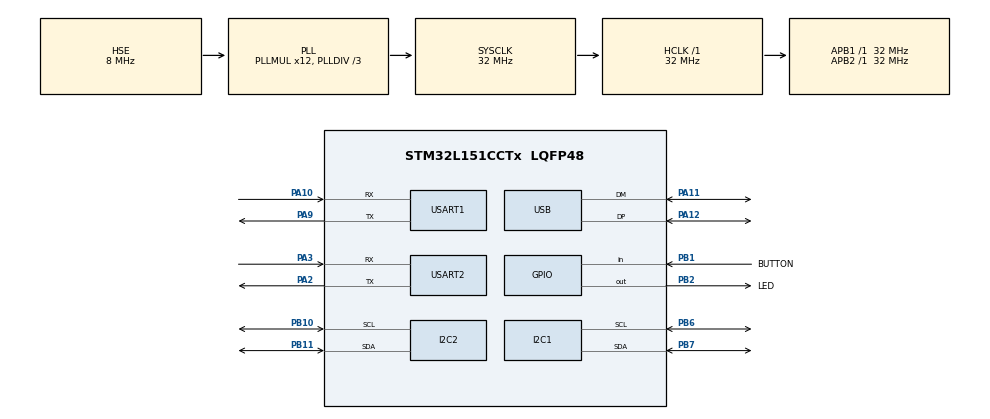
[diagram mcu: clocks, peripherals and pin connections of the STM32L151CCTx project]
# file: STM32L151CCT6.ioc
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FREERTOS.BinarySemaphores01=outputBinarySem,Dynamic,NULL
FREERTOS.HEAP_NUMBER=4
FREERTOS.Tasks01=defaultTask,24,64,StartDefaultTask,Default,NULL,Dynamic,NULL,NULL;commsTask,24,256,StartCommsTask,Default,NULL,Dynamic,NULL,NULL;mainTask,24,256,StartMainTask,Default,NULL,Dynamic,NULL,NULL
FREERTOS.configCHECK_FOR_STACK_OVERFLOW=1
FREERTOS.configMINIMAL_STACK_SIZE=64
FREERTOS.configTOTAL_HEAP_SIZE=19448
FREERTOS.configUSE_MALLOC_FAILED_HOOK=1
FREERTOS.configUSE_NEWLIB_REENTRANT=0
I2C1.I2C_Mode=I2C_Fast
Mcu.Family=STM32L1
Mcu.Name=STM32L151CCTx
Mcu.Package=LQFP48
NVIC.PriorityGroup=NVIC_PRIORITYGROUP_4
NVIC.TIM2_IRQn=true\:15\:0\:false\:false\:true\:false\:false\:true
NVIC.TimeBase=TIM2_IRQn
NVIC.TimeBaseIP=TIM2
NVIC.USB_LP_IRQn=true\:5\:0\:false\:false\:true\:true\:false\:true
PA10.Mode=Asynchronous
PA10.Signal=USART1_RX
PA11.Mode=Device
PA11.Signal=USB_DM
PA12.Mode=Device
PA12.Signal=USB_DP
PA13.Mode=Trace_Asynchronous_SW
PA13.Signal=SYS_JTMS-SWDIO
PA14.Mode=Trace_Asynchronous_SW
PA14.Signal=SYS_JTCK-SWCLK
PA2.Mode=Asynchronous
PA2.Signal=USART2_TX
PA3.Mode=Asynchronous
PA3.Signal=USART2_RX
PA9.Mode=Asynchronous
PA9.Signal=USART1_TX
PB1.GPIO_Label=BUTTON
PB1.GPIO_PuPd=GPIO_PULLUP
PB1.Signal=GPIO_Input
PB10.GPIO_Pu=GPIO_PULLUP
PB10.Mode=I2C
PB10.Signal=I2C2_SCL
PB11.GPIO_Pu=GPIO_PULLUP
PB11.Mode=I2C
PB11.Signal=I2C2_SDA
PB2.GPIO_Label=LED
PB2.Signal=GPIO_Output
PB3.Mode=Trace_Asynchronous_SW
PB3.Signal=SYS_JTDO-TRACESWO
PB6.GPIO_Pu=GPIO_PULLUP
PB6.Mode=I2C
PB6.Signal=I2C1_SCL
PB7.GPIO_Pu=GPIO_PULLUP
PB7.Mode=I2C
PB7.Signal=I2C1_SDA
PH0-OSC_IN.Mode=HSE-External-Oscillator
PH0-OSC_IN.Signal=RCC_OSC_IN
PH1-OSC_OUT.Mode=HSE-External-Oscillator
PH1-OSC_OUT.Signal=RCC_OSC_OUT
ProjectManager.HeapSize=0x200
ProjectManager.StackSize=0x400
ProjectManager.TargetToolchain=STM32CubeIDE
RCC.48MHZClocksFreq_Value=48000000
RCC.AHBFreq_Value=32000000
RCC.APB1Freq_Value=32000000
RCC.APB1TimFreq_Value=32000000
RCC.APB2Freq_Value=32000000
RCC.APB2TimFreq_Value=32000000
RCC.HCLKFreq_Value=32000000
RCC.HSE_VALUE=8000000
RCC.HSI_VALUE=16000000
RCC.LSE_VALUE=32768
RCC.MSI_VALUE=2097000
RCC.PLLDIV=RCC_PLL_DIV3
RCC.PLLMUL=RCC_PLL_MUL12
RCC.SYSCLKFreq_VALUE=32000000
RCC.SYSCLKSource=RCC_SYSCLKSOURCE_PLLCLK
RCC.VCOOutputFreq_Value=96000000
USART1.VirtualMode=VM_ASYNC
USART2.VirtualMode=VM_ASYNC
USB_DEVICE.APP_RX_DATA_SIZE=256
USB_DEVICE.APP_TX_DATA_SIZE=256
USB_DEVICE.CLASS_NAME_FS=CDC
USB_DEVICE.VirtualMode=Cdc
USB_DEVICE.VirtualModeFS=Cdc_FS
VP_FREERTOS_VS_CMSIS_V2.Mode=CMSIS_V2
VP_RTC_VS_RTC_Activate.Mode=RTC_Enabled
VP_SYS_VS_tim2.Mode=TIM2
VP_USB_DEVICE_VS_USB_DEVICE_CDC_FS.Mode=CDC_FS
board=custom

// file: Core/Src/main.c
/* USER CODE BEGIN Header */
/**
  ******************************************************************************
  * @file           : main.c
  * @brief          : Main program body
  ******************************************************************************
  * @attention
  *
  * <h2><center>&copy; Copyright (c) 2021 STMicroelectronics.
  * All rights reserved.</center></h2>
  *
  * This software component is licensed by ST under BSD 3-Clause license,
  * the "License"; You may not use this file except in compliance with the
  * License. You may obtain a copy of the License at:
  *                        opensource.org/licenses/BSD-3-Clause
  *
  ******************************************************************************
  */
/* USER CODE END Header */
#include "main.h"
#include "cmsis_os.h"
#include "usb_device.h"
#include "usb_device.h"

/* USER CODE BEGIN Includes */
#include "usbd_cdc_if.h"
#include "FreeRTOS.h"
#include <memory.h>
#include <malloc.h>
#include <stdio.h>
#include "queue.h"
#include "stream_buffer.h"
#include "semphr.h"
#include "task.h"
#include "messages.h"
#include "menu.h"
#include "readline.h"
#include "userdata.h"
#include "sao.h"

/* USER CODE END Includes */

I2C_HandleTypeDef hi2c1;
I2C_HandleTypeDef hi2c2;

RTC_HandleTypeDef hrtc;

UART_HandleTypeDef huart1;
UART_HandleTypeDef huart2;

/* Definitions for defaultTask */
osThreadId_t defaultTaskHandle;
const osThreadAttr_t defaultTask_attributes = {
  .name = "defaultTask",
  .stack_size = 64 * 4,
  .priority = (osPriority_t) osPriorityNormal,
};
/* Definitions for commsTask */
osThreadId_t commsTaskHandle;
const osThreadAttr_t commsTask_attributes = {
  .name = "commsTask",
  .stack_size = 256 * 4,
  .priority = (osPriority_t) osPriorityNormal,
};
/* Definitions for mainTask */
osThreadId_t mainTaskHandle;
const osThreadAttr_t mainTask_attributes = {
  .name = "mainTask",
  .stack_size = 256 * 4,
  .priority = (osPriority_t) osPriorityNormal,
};
/* Definitions for outputBinarySem */
osSemaphoreId_t outputBinarySemHandle;
const osSemaphoreAttr_t outputBinarySem_attributes = {
  .name = "outputBinarySem"
};
/* USER CODE BEGIN PV */
static const uint8_t DEV_ADDR = 0xc4;

StreamBufferHandle_t stdoutBufferHandle;

char outputBuffer[OUTPUT_BUFF_LEN];

/* USER CODE END PV */

void SystemClock_Config(void);
static void MX_GPIO_Init(void);
static void MX_I2C1_Init(void);
static void MX_I2C2_Init(void);
static void MX_USART1_UART_Init(void);
static void MX_USART2_UART_Init(void);
static void MX_RTC_Init(void);
void StartDefaultTask(void *argument);
void StartCommsTask(void *argument);
void StartMainTask(void *argument);

/* USER CODE BEGIN PFP */
void setColor(uint8_t red, uint8_t green, uint8_t blue);
/* USER CODE END PFP */

int main(void)
{

  /* MCU Configuration--------------------------------------------------------*/

  /* Reset of all peripherals, Initializes the Flash interface and the Systick. */
  HAL_Init();

  /* Configure the system clock */
  SystemClock_Config();

  /* Initialize all configured peripherals */
  MX_GPIO_Init();
  MX_I2C1_Init();
  MX_I2C2_Init();
  MX_USART1_UART_Init();
  MX_USART2_UART_Init();
  MX_RTC_Init();

  /* Init scheduler */
  osKernelInitialize();

  /* Create the semaphores(s) */
  /* creation of outputBinarySem */
  outputBinarySemHandle = osSemaphoreNew(1, 1, &outputBinarySem_attributes);

  /* USER CODE BEGIN RTOS_QUEUES */
  init_input();
  stdoutBufferHandle = xStreamBufferCreate(1024, 1);
  /* USER CODE END RTOS_QUEUES */

  /* Create the thread(s) */
  /* creation of defaultTask */
  defaultTaskHandle = osThreadNew(StartDefaultTask, NULL, &defaultTask_attributes);

  /* creation of commsTask */
  commsTaskHandle = osThreadNew(StartCommsTask, NULL, &commsTask_attributes);

  /* creation of mainTask */
  mainTaskHandle = osThreadNew(StartMainTask, NULL, &mainTask_attributes);

  /* Start scheduler */
  osKernelStart();

  /* We should never get here as control is now taken by the scheduler */
  /* Infinite loop */
  while (1)
  {

  }
}

void SystemClock_Config(void)
{
  RCC_OscInitTypeDef RCC_OscInitStruct = {0};
  RCC_ClkInitTypeDef RCC_ClkInitStruct = {0};
  RCC_PeriphCLKInitTypeDef PeriphClkInit = {0};

  /** Configure the main internal regulator output voltage
  */
  __HAL_PWR_VOLTAGESCALING_CONFIG(PWR_REGULATOR_VOLTAGE_SCALE1);
  /** Initializes the RCC Oscillators according to the specified parameters
  * in the RCC_OscInitTypeDef structure.
  */
  RCC_OscInitStruct.OscillatorType = RCC_OSCILLATORTYPE_LSI|RCC_OSCILLATORTYPE_HSE;
  RCC_OscInitStruct.HSEState = RCC_HSE_ON;
  RCC_OscInitStruct.LSIState = RCC_LSI_ON;
  RCC_OscInitStruct.PLL.PLLState = RCC_PLL_ON;
  RCC_OscInitStruct.PLL.PLLSource = RCC_PLLSOURCE_HSE;
  RCC_OscInitStruct.PLL.PLLMUL = RCC_PLL_MUL12;
  RCC_OscInitStruct.PLL.PLLDIV = RCC_PLL_DIV3;
  if (HAL_RCC_OscConfig(&RCC_OscInitStruct) != HAL_OK)
  {
    Error_Handler();
  }
  /** Initializes the CPU, AHB and APB buses clocks
  */
  RCC_ClkInitStruct.ClockType = RCC_CLOCKTYPE_HCLK|RCC_CLOCKTYPE_SYSCLK
                              |RCC_CLOCKTYPE_PCLK1|RCC_CLOCKTYPE_PCLK2;
  RCC_ClkInitStruct.SYSCLKSource = RCC_SYSCLKSOURCE_PLLCLK;
  RCC_ClkInitStruct.AHBCLKDivider = RCC_SYSCLK_DIV1;
  RCC_ClkInitStruct.APB1CLKDivider = RCC_HCLK_DIV1;
  RCC_ClkInitStruct.APB2CLKDivider = RCC_HCLK_DIV1;

  if (HAL_RCC_ClockConfig(&RCC_ClkInitStruct, FLASH_LATENCY_1) != HAL_OK)
  {
    Error_Handler();
  }
  PeriphClkInit.PeriphClockSelection = RCC_PERIPHCLK_RTC;
  PeriphClkInit.RTCClockSelection = RCC_RTCCLKSOURCE_LSI;
  if (HAL_RCCEx_PeriphCLKConfig(&PeriphClkInit) != HAL_OK)
  {
    Error_Handler();
  }
}

static void MX_I2C1_Init(void)
{

  hi2c1.Instance = I2C1;
  hi2c1.Init.ClockSpeed = 400000;
  hi2c1.Init.DutyCycle = I2C_DUTYCYCLE_2;
  hi2c1.Init.OwnAddress1 = 0;
  hi2c1.Init.AddressingMode = I2C_ADDRESSINGMODE_7BIT;
  hi2c1.Init.DualAddressMode = I2C_DUALADDRESS_DISABLE;
  hi2c1.Init.OwnAddress2 = 0;
  hi2c1.Init.GeneralCallMode = I2C_GENERALCALL_DISABLE;
  hi2c1.Init.NoStretchMode = I2C_NOSTRETCH_DISABLE;
  if (HAL_I2C_Init(&hi2c1) != HAL_OK)
  {
    Error_Handler();
  }

}

static void MX_I2C2_Init(void)
{

  hi2c2.Instance = I2C2;
  hi2c2.Init.ClockSpeed = 100000;
  hi2c2.Init.DutyCycle = I2C_DUTYCYCLE_2;
  hi2c2.Init.OwnAddress1 = 0;
  hi2c2.Init.AddressingMode = I2C_ADDRESSINGMODE_7BIT;
  hi2c2.Init.DualAddressMode = I2C_DUALADDRESS_DISABLE;
  hi2c2.Init.OwnAddress2 = 0;
  hi2c2.Init.GeneralCallMode = I2C_GENERALCALL_DISABLE;
  hi2c2.Init.NoStretchMode = I2C_NOSTRETCH_DISABLE;
  if (HAL_I2C_Init(&hi2c2) != HAL_OK)
  {
    Error_Handler();
  }

}

static void MX_RTC_Init(void)
{

  /** Initialize RTC Only
  */
  hrtc.Instance = RTC;
  hrtc.Init.HourFormat = RTC_HOURFORMAT_24;
  hrtc.Init.AsynchPrediv = 127;
  hrtc.Init.SynchPrediv = 255;
  hrtc.Init.OutPut = RTC_OUTPUT_DISABLE;
  hrtc.Init.OutPutPolarity = RTC_OUTPUT_POLARITY_HIGH;
  hrtc.Init.OutPutType = RTC_OUTPUT_TYPE_OPENDRAIN;
  if (HAL_RTC_Init(&hrtc) != HAL_OK)
  {
    Error_Handler();
  }

}

static void MX_USART1_UART_Init(void)
{

  huart1.Instance = USART1;
  huart1.Init.BaudRate = 115200;
  huart1.Init.WordLength = UART_WORDLENGTH_8B;
  huart1.Init.StopBits = UART_STOPBITS_1;
  huart1.Init.Parity = UART_PARITY_NONE;
  huart1.Init.Mode = UART_MODE_TX_RX;
  huart1.Init.HwFlowCtl = UART_HWCONTROL_NONE;
  huart1.Init.OverSampling = UART_OVERSAMPLING_16;
  if (HAL_UART_Init(&huart1) != HAL_OK)
  {
    Error_Handler();
  }

}

static void MX_USART2_UART_Init(void)
{

  huart2.Instance = USART2;
  huart2.Init.BaudRate = 115200;
  huart2.Init.WordLength = UART_WORDLENGTH_8B;
  huart2.Init.StopBits = UART_STOPBITS_1;
  huart2.Init.Parity = UART_PARITY_NONE;
  huart2.Init.Mode = UART_MODE_TX_RX;
  huart2.Init.HwFlowCtl = UART_HWCONTROL_NONE;
  huart2.Init.OverSampling = UART_OVERSAMPLING_16;
  if (HAL_UART_Init(&huart2) != HAL_OK)
  {
    Error_Handler();
  }

}

static void MX_GPIO_Init(void)
{
  GPIO_InitTypeDef GPIO_InitStruct = {0};

  /* GPIO Ports Clock Enable */
  __HAL_RCC_GPIOH_CLK_ENABLE();
  __HAL_RCC_GPIOA_CLK_ENABLE();
  __HAL_RCC_GPIOB_CLK_ENABLE();

  /*Configure GPIO pin Output Level */
  HAL_GPIO_WritePin(LED_GPIO_Port, LED_Pin, GPIO_PIN_RESET);

  /*Configure GPIO pin : BUTTON_Pin */
  GPIO_InitStruct.Pin = BUTTON_Pin;
  GPIO_InitStruct.Mode = GPIO_MODE_INPUT;
  GPIO_InitStruct.Pull = GPIO_PULLUP;
  HAL_GPIO_Init(BUTTON_GPIO_Port, &GPIO_InitStruct);

  /*Configure GPIO pin : LED_Pin */
  GPIO_InitStruct.Pin = LED_Pin;
  GPIO_InitStruct.Mode = GPIO_MODE_OUTPUT_PP;
  GPIO_InitStruct.Pull = GPIO_NOPULL;
  GPIO_InitStruct.Speed = GPIO_SPEED_FREQ_LOW;
  HAL_GPIO_Init(LED_GPIO_Port, &GPIO_InitStruct);

}

/* USER CODE BEGIN 4 */
void setColor(uint8_t red, uint8_t green, uint8_t blue)
{
    uint8_t buf[5];
    buf[0] = 0x82;
    buf[1] = green;
    buf[2] = blue;
    buf[3] = red;
    buf[4] = 0x00;

    HAL_I2C_Master_Transmit(&hi2c1, DEV_ADDR, buf, 5, HAL_MAX_DELAY);
}

int _write(int file, char *ptr, int len)
{
    // HAL_UART_Transmit(&huart1, (uint8_t *)ptr, len, 0xFFFF);
    size_t returnLength = 0;
    if (xTaskGetSchedulerState() == taskSCHEDULER_RUNNING) {
        xSemaphoreTake(outputBinarySemHandle, portMAX_DELAY);
        //while (returnLength < len) {
            returnLength += xStreamBufferSend(stdoutBufferHandle, ptr + returnLength, len - returnLength, portMAX_DELAY);
        //}
        xSemaphoreGive(outputBinarySemHandle);
    }
    return returnLength;
}

/* USER CODE END 4 */

void StartDefaultTask(void *argument)
{
  /* init code for USB_DEVICE */
  MX_USB_DEVICE_Init();
  /* USER CODE BEGIN 5 */

  InitUserConfig();
  SAOPortInit(0, &hi2c1, &huart1);
  SAOPortInit(1, &hi2c2, &huart2);

  /* Infinite loop */
  for(;;)
  {

      if (GetConfig()->ledMode == LED_MODE_ON) {
          HAL_GPIO_WritePin(LED_GPIO_Port, LED_Pin, GPIO_PIN_SET);
      }
      else if (GetConfig()->ledMode == LED_MODE_OFF) {
          HAL_GPIO_WritePin(LED_GPIO_Port, LED_Pin, GPIO_PIN_RESET);
      }
      else if (GetConfig()->ledMode == LED_MODE_BLINK) {
          HAL_GPIO_WritePin(LED_GPIO_Port, LED_Pin, GPIO_PIN_SET);
          osDelay(500);
          HAL_GPIO_WritePin(LED_GPIO_Port, LED_Pin, GPIO_PIN_RESET);
          osDelay(500);
      }
      taskYIELD();
  }
  /* USER CODE END 5 */
}

void StartCommsTask(void *argument)
{
  /* USER CODE BEGIN StartCommsTask */
  /* Infinite loop */
  for(;;)
  {
      xSemaphoreTake(outputBinarySemHandle, portMAX_DELAY);
      if (xStreamBufferIsEmpty(stdoutBufferHandle) == pdFALSE) {
          size_t len;
          // Read up to len bytes from the buffer
          if ((len = xStreamBufferReceive(stdoutBufferHandle, outputBuffer, OUTPUT_BUFF_LEN, portMAX_DELAY)) > 0)
          {
              CDC_Transmit_FS((uint8_t *)outputBuffer, len);
          }
      }
      xSemaphoreGive(outputBinarySemHandle);
      taskYIELD();
  }
  /* USER CODE END StartCommsTask */
}

void StartMainTask(void *argument)
{
  /* USER CODE BEGIN StartMainTask */
  /* Infinite loop */
  readline("> ");
  char * line = "";
  menu_func_t func = NULL;
  for(;;)
  {
      while (func == NULL) {
          displayMenu(current_menu);
          while (strlen(line = readline("> ")) <= 0) {
              displayMenu(current_menu);
          }
          func = findMenuFunc(line, current_menu);
      }
      func();
      func = NULL;
  }
  /* USER CODE END StartMainTask */
}

void HAL_TIM_PeriodElapsedCallback(TIM_HandleTypeDef *htim)
{
  if (htim->Instance == TIM2) {
    HAL_IncTick();
  }
}

void Error_Handler(void)
{
  __disable_irq();
  while (1)
  {
  }
}

/************************ (C) COPYRIGHT STMicroelectronics *****END OF FILE****/

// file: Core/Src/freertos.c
/* USER CODE BEGIN Header */
/**
  ******************************************************************************
  * File Name          : freertos.c
  * Description        : Code for freertos applications
  ******************************************************************************
  * @attention
  *
  * <h2><center>&copy; Copyright (c) 2021 STMicroelectronics.
  * All rights reserved.</center></h2>
  *
  * This software component is licensed by ST under Ultimate Liberty license
  * SLA0044, the "License"; You may not use this file except in compliance with
  * the License. You may obtain a copy of the License at:
  *                             www.st.com/SLA0044
  *
  ******************************************************************************
  */
/* USER CODE END Header */

#include "FreeRTOS.h"
#include "task.h"
#include "main.h"

/* Hook prototypes */
void vApplicationStackOverflowHook(xTaskHandle xTask, signed char *pcTaskName);

/* USER CODE BEGIN 4 */
void vApplicationStackOverflowHook(xTaskHandle xTask, signed char *pcTaskName)
{
   /* Run time stack overflow checking is performed if
   configCHECK_FOR_STACK_OVERFLOW is defined to 1 or 2. This hook function is
   called if a stack overflow is detected. */
}
/* USER CODE END 4 */

/************************ (C) COPYRIGHT STMicroelectronics *****END OF FILE****/
